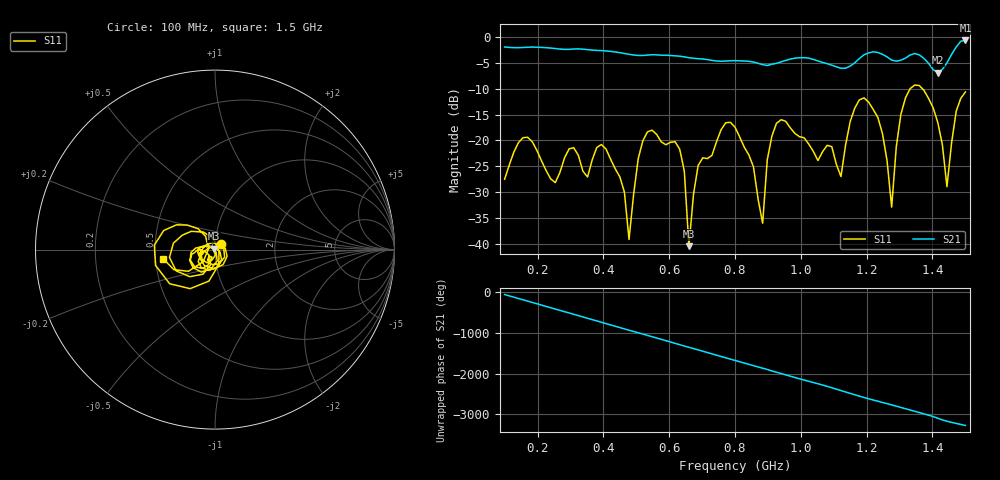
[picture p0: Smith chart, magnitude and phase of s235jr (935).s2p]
! NanoVNA-App
! Date: 2025-09-25 15:11:27
! Start: 100MHz Stop: 1,5GHz Points: 101
! S-Parameter data: F S11 S21 S12 S22
# Hz S RI R 50
!  Frequency  S11_Real  S11_Imag  S21_Real  S21_Imag  S12_Real  S12_Imag  S22_Real  S22_Imag
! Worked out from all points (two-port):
!   101 points, 100 MHz to 1.5 GHz, reference 50 ohm
!   highest |S21| = -0.70 dB at 1.5 GHz (marker M1); lowest = -6.9 dB at 1.416 GHz (marker M2)
!   |S21| within 3 dB of the highest: start of sweep to 624.2 MHz; 1.187 GHz to 1.257 GHz (69.78 MHz wide, 5.71 % of centre) (the widest 2 of 4)
!   lowest |S11| = -40.4 dB at 660 MHz (marker M3), VSWR 1.02, Z = 49.2 + j0.529 ohm
!   |S11| at or under -10 dB: start of sweep to 1.332 GHz; 1.369 GHz to end of sweep
!   S12 and S22 are empty: the file has one direction only
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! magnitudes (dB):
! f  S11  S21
! 100 MHz  -27.5  -2.0
! 156 MHz  -19.5  -2.1
! 338 MHz  -25.9  -2.4
! 408 MHz  -21.6  -2.7
! 478 MHz  -39.1  -3.4
! 520 MHz  -20.1  -3.6
! 576 MHz  -20.3  -3.5
! 632 MHz  -21.7  -3.7
! 660 MHz  -40.4  -4.0
! 688 MHz  -24.8  -4.2
! 800 MHz  -17.4  -4.6
! 884 MHz  -36.0  -5.4
! 926 MHz  -16.7  -5.1
! 1.038 GHz  -22.1  -4.4
! 1.122 GHz  -27.0  -6.1
! 1.192 GHz  -11.8  -3.5
! 1.248 GHz  -18.6  -3.4
! 1.276 GHz  -32.9  -4.5
! 1.332 GHz  -10.0  -3.5
! 1.416 GHz  -16.5  -6.9
! 1.444 GHz  -28.9  -5.0
! 1.5 GHz  -10.6  -0.7
